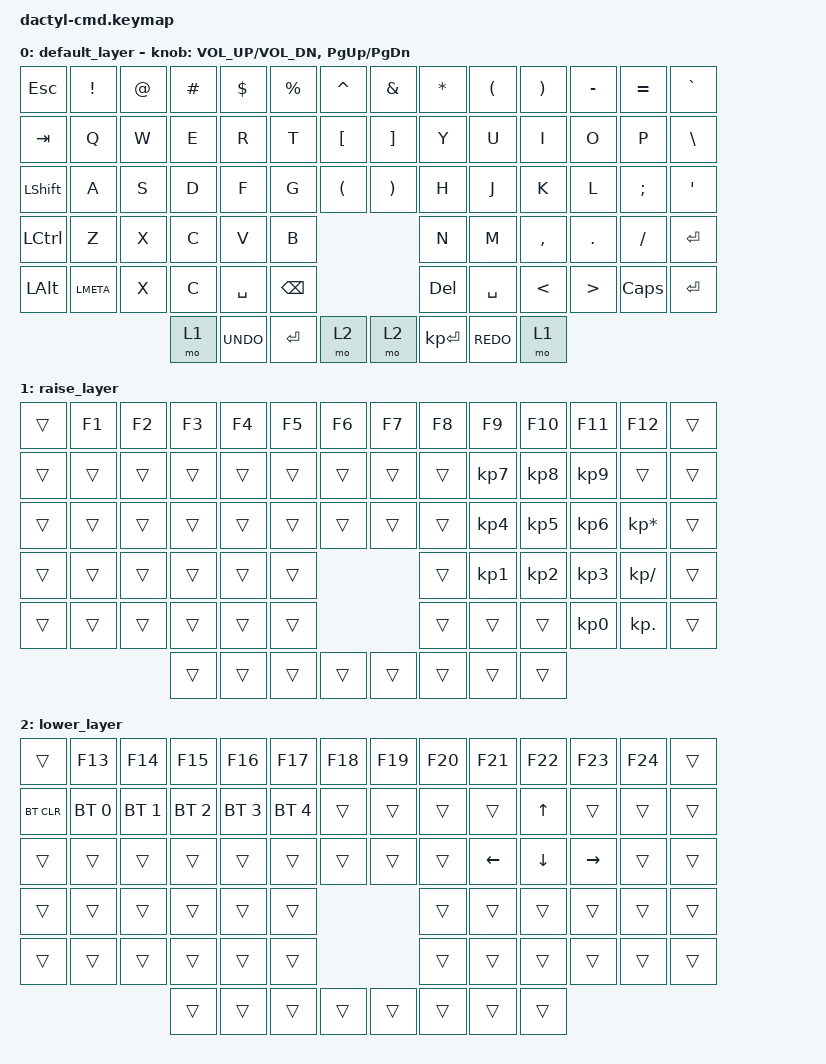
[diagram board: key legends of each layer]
/*
 * Copyright (c) 2020 The ZMK Contributors
 *
 * SPDX-License-Identifier: MIT
 */

 #include <behaviors.dtsi>
 #include <dt-bindings/zmk/keys.h>
 #include <dt-bindings/zmk/bt.h>
 #include <dt-bindings/zmk/outputs.h>

 / {
     keymap {
         compatible = "zmk,keymap";


         default_layer {
 // ------------------------------------------------------------------------------------------------------------
 // [  ESC  ][  !   ][  @    ][   #   ][  $     ][   %     ][   ^   ]     [   &     ][   *         ][  (      ][  )     ][  -       ][   +      ][   `   ]
 // [  TAB  ][ Q    ][  W    ][   E   ][  R     ][   T     ][   [   ]     [   ]     ][   Y         ][  U      ][  I     ][  O       ][   P      ][   \   ]
 // [ SHIFT ][ A    ][  S    ][   D   ][  F     ][   G     ][   (   ]     [   )     ][   H         ][  J      ][  K     ][  L       ][   ;      ][   '   ]
 // [  CTRL ][ Z    ][  X    ][   C   ][  V     ][   B     ]                         [   N         ][  M      ][  ,     ][  .       ][   /      ][ ENTER ]
 // [  ALT  ][ GUI  ][  1u   ][   1u  ][  SPACE ][  BSPC   ]                         [   SPACE     ][  DEL    ][  LT    ][  GT      ][   CAPS   ][   1u  ]
 //                           [ LOWER ][  UNDO  ][  ENTER  ][ RAISE ]     [  RAISE  ][   KP_ENTR   ][  REDO   ][  LOWER ]
 //
             bindings = <
 &kp ESC    &kp EXCL  &kp AT   &kp HASH  &kp DOLLAR  &kp PRCNT &kp CARET        &kp AMPS   &kp ASTRK     &kp LPAR   &kp RPAR  &kp MINUS   &kp EQUAL   &kp GRAVE
 &kp TAB    &kp Q     &kp W    &kp E     &kp R       &kp T     &kp LBKT         &kp RBKT   &kp Y         &kp U      &kp I     &kp O       &kp P       &kp BSLH
 &kp LSHFT  &kp A     &kp S    &kp D     &kp F       &kp G     &kp LPAR         &kp RPAR   &kp H         &kp J      &kp K     &kp L       &kp SEMI    &kp SQT
 &kp LCTRL  &kp Z     &kp X    &kp C     &kp V       &kp B                                 &kp N         &kp M      &kp COMMA &kp DOT     &kp FSLH    &kp ENTER
 &kp LALT   &kp LMETA &kp X    &kp C     &kp SPACE   &kp BSPC                              &kp DEL       &kp SPACE  &kp LT    &kp GT      &kp CAPS    &kp ENTER
                               &mo 1     &kp K_UNDO  &kp ENTER &mo 2            &mo 2      &kp KP_ENTER  &kp K_REDO &mo 1
             >;

             sensor-bindings = <&inc_dec_kp C_VOL_UP C_VOL_DN &inc_dec_kp PG_UP PG_DN>;
         };

         raise_layer {
 // ------------------------------------------------------------------------------------------------------------
 // [       ][  F1  ][  F2  ][  F3  ][  F4  ][  F5  ][  F6  ]    [  F7  ][  F8  ][  F9  ][  F10 ][  F11 ][  F12 ][     ]
 // [       ][      ][      ][      ][      ][      ][      ]    [      ][      ][   7  ][   8  ][   9  ][      ][     ]
 // [       ][      ][      ][      ][      ][      ][      ]    [      ][      ][   4  ][   5  ][   6  ][   *  ][     ]
 // [       ][      ][      ][      ][      ][      ]                    [      ][   1  ][   2  ][   3  ][   /  ][     ]
 // [       ][      ][      ][      ][      ][      ]                    [      ][      ][   0  ][   .  ][      ][     ]
 //                          [      ][      ][      ][      ]    [      ][      ][      ][      ]
            bindings = <
 &trans    &kp F1    &kp F2    &kp F3    &kp F4    &kp F5    &kp F6          &kp F7   &kp F8     &kp F9     &kp F10    &kp F11    &kp F12         &trans
 &trans    &trans    &trans    &trans    &trans    &trans    &trans          &trans   &trans     &kp KP_N7  &kp KP_N8  &kp KP_N9  &trans          &trans
 &trans    &trans    &trans    &trans    &trans    &trans    &trans          &trans   &trans     &kp KP_N4  &kp KP_N5  &kp KP_N6  &kp KP_MULTIPLY &trans
 &trans    &trans    &trans    &trans    &trans    &trans                             &trans     &kp KP_N1  &kp KP_N2  &kp KP_N3  &kp KP_DIVIDE   &trans
 &trans    &trans    &trans    &trans    &trans    &trans                             &trans     &trans     &trans     &kp KP_N0  &kp KP_DOT      &trans
                               &trans    &trans    &trans    &trans          &trans   &trans     &trans     &trans
             >;
         };

         lower_layer {
 // ------------------------------------------------------------------------------------------------------------
 // [       ][  F13 ][  F14 ][  F15 ][  F16 ][ F17  ][   F18  ]    [  F19 ][  F20  ][  F21  ][  F22  ][  F23  ][  F24  ][       ]
 // [ BT Cl ][ BT 0 ][ BT 1 ][ BT 2 ][ BT 3 ][ BT 4 ][        ]    [      ][       ][       ][   ^   ][       ][       ][       ]
 // [       ][      ][      ][      ][      ][      ][        ]    [      ][       ][   <   ][   v   ][   >   ][       ][       ]
 // [       ][      ][      ][      ][      ][      ]                      [       ][       ][       ][       ][       ][       ]
 // [       ][      ][      ][      ][      ][      ]                      [       ][       ][       ][       ][       ][       ]
 //                          [      ][      ][      ][        ]    [      ][       ][       ][       ]
             bindings = <
 &trans      &kp F13      &kp F14      &kp F15      &kp F16      &kp F17      &kp F18          &kp F19  &kp F20   &kp F21   &kp F22   &kp F23    &kp F24    &trans
 &bt BT_CLR  &bt BT_SEL 0 &bt BT_SEL 1 &bt BT_SEL 2 &bt BT_SEL 3 &bt BT_SEL 4 &trans           &trans   &trans    &trans    &kp UP    &trans     &trans     &trans
 &trans      &trans       &trans       &trans       &trans       &trans       &trans           &trans   &trans    &kp LEFT  &kp DOWN  &kp RIGHT  &trans     &trans
 &trans      &trans       &trans       &trans       &trans       &trans                                 &trans    &trans    &trans    &trans     &trans     &trans
 &trans      &trans       &trans       &trans       &trans       &trans                                 &trans    &trans    &trans    &trans     &trans     &trans
                                       &trans       &trans       &trans       &trans           &trans   &trans    &trans    &trans
             >;
         };
     };
 };
